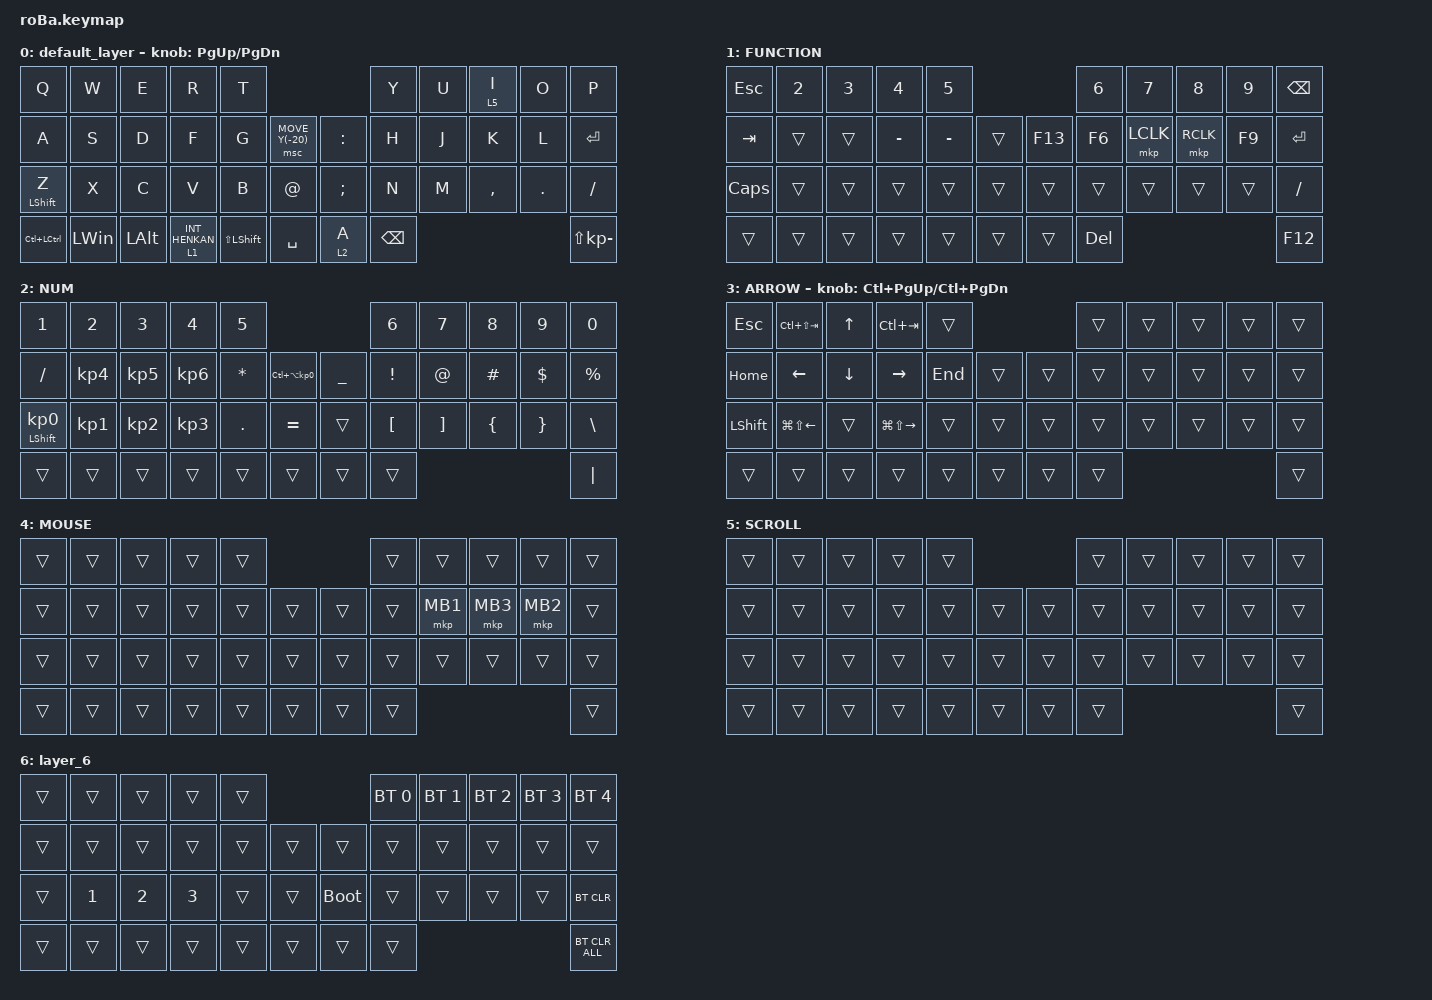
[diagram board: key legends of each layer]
#include <behaviors.dtsi>
#include <dt-bindings/zmk/bt.h>
#include <dt-bindings/zmk/keys.h>
#include <dt-bindings/zmk/pointing.h>

&mt {
    flavor = "balanced";
    quick-tap-ms = <0>;
};

&trackball {
    automouse-layer = <4>;
    scroll-layers = <5>;

    // arrows {
    //     layers = <3>;
    //     bindings =
    //         <&kp RIGHT_ARROW>,
    //         <&kp LEFT_ARROW>,
    //         <&kp UP_ARROW>,
    //         <&kp DOWN_ARROW>;
    //     tick = <10>;
    //     wait-ms = <5>;
    //     tap-ms = <5>;
    // };
};

/ {
    combos {
        compatible = "zmk,combos";

        tab {
            bindings = <&kp TAB>;
            key-positions = <11 12>;
        };

        shift_tab {
            bindings = <&kp LS(TAB)>;
            key-positions = <12 13>;
        };

        muhennkann {
            bindings = <&to_layer_0 INT_MUHENKAN>;
            key-positions = <11 10>;
        };

        double_quotation {
            bindings = <&kp DOUBLE_QUOTES>;
            key-positions = <20 21>;
        };

        eq {
            bindings = <&kp EQUAL>;
            key-positions = <24 25>;
        };
    };

    macros {
        to_layer_0: to_layer_0 {
            compatible = "zmk,behavior-macro-one-param";
            #binding-cells = <1>;
            bindings = <&to 0 &macro_param_1to1 &kp MACRO_PLACEHOLDER>;
            label = "TO_LAYER_0";
        };
    };

    behaviors {
        lt_to_layer_0: lt_to_layer_0 {
            compatible = "zmk,behavior-hold-tap";
            label = "LAYER_TAP_TO_0";
            bindings = <&mo>, <&to_layer_0>;

            #binding-cells = <2>;
            tapping-term-ms = <200>;
        };
    };

    keymap {
        compatible = "zmk,keymap";

        default_layer {
            bindings = <
&kp Q                 &kp W         &kp E         &kp R                        &kp T                                                     &kp Y          &kp U  &lt 5 I    &kp O    &kp P
&kp A                 &kp S         &kp D         &kp F                        &kp G           &msc MOVE_Y(-20)      &kp COLON           &kp H          &kp J  &kp K      &kp L    &kp ENTER
&mt LEFT_SHIFT Z      &kp X         &kp C         &kp V                        &kp B           &kp AT_SIGN           &kp SEMICOLON       &kp N          &kp M  &kp COMMA  &kp DOT  &kp SLASH
&kp LC(LEFT_CONTROL)  &kp LEFT_WIN  &kp LEFT_ALT  &lt_to_layer_0 1 INT_HENKAN  &kp LS(LSHIFT)  &kp SPACE             &lt_to_layer_0 2 A  &kp BACKSPACE                             &kp LS(KP_MINUS)
            >;

            sensor-bindings = <&inc_dec_kp PG_UP PAGE_DOWN>;
        };

        FUNCTION {
            bindings = <
&kp ESC       &kp NUMBER_2  &kp NUMBER_3  &kp NUMBER_4  &kp NUMBER_5                       &kp NUMBER_6  &kp NUMBER_7  &kp NUMBER_8  &kp NUMBER_9  &kp BACKSPACE
&kp TAB       &trans        &trans        &kp MINUS     &kp MINUS     &trans      &kp F13  &kp F6        &mkp LCLK     &mkp RCLK     &kp F9        &kp ENTER
&kp CAPSLOCK  &trans        &trans        &trans        &trans        &trans      &trans   &trans        &trans        &trans        &trans        &kp SLASH
&trans        &trans        &trans        &trans        &trans        &trans      &trans   &kp DELETE                                              &kp F12
            >;
        };

        NUM {
            bindings = <
&kp NUMBER_1                &kp NUMBER_2     &kp NUMBER_3     &kp NUMBER_4     &kp NUMBER_5                                               &kp NUMBER_6      &kp NUMBER_7       &kp NUMBER_8    &kp NUMBER_9     &kp NUMBER_0
&kp SLASH                   &kp KP_NUMBER_4  &kp KP_NUMBER_5  &kp KP_NUMBER_6  &kp ASTERISK  &kp LC(LA(KP_NUMBER_0))      &kp UNDERSCORE  &kp EXCLAMATION   &kp AT_SIGN        &kp HASH        &kp DOLLAR       &kp PERCENT
&mt LEFT_SHIFT KP_NUMBER_0  &kp KP_NUMBER_1  &kp KP_NUMBER_2  &kp KP_NUMBER_3  &kp PERIOD    &kp EQUAL                    &trans          &kp LEFT_BRACKET  &kp RIGHT_BRACKET  &kp LEFT_BRACE  &kp RIGHT_BRACE  &kp BACKSLASH
&trans                      &trans           &trans           &trans           &trans        &trans                       &trans          &trans                                                                &kp PIPE
            >;
        };

        ARROW {
            bindings = <
&kp ESCAPE      &kp LC(LS(TAB))         &kp UP_ARROW    &kp LC(TAB)              &trans                       &trans  &trans  &trans  &trans  &trans
&kp HOME        &kp LEFT_ARROW          &kp DOWN_ARROW  &kp RIGHT_ARROW          &kp END  &trans      &trans  &trans  &trans  &trans  &trans  &trans
&kp LEFT_SHIFT  &kp LG(LS(LEFT_ARROW))  &trans          &kp LG(LS(RIGHT_ARROW))  &trans   &trans      &trans  &trans  &trans  &trans  &trans  &trans
&trans          &trans                  &trans          &trans                   &trans   &trans      &trans  &trans                          &trans
            >;

            sensor-bindings = <&inc_dec_kp LC(PAGE_UP) LC(PAGE_DOWN)>;
        };

        MOUSE {
            bindings = <
&trans  &trans  &trans  &trans  &trans                      &trans  &trans    &trans    &trans    &trans
&trans  &trans  &trans  &trans  &trans  &trans      &trans  &trans  &mkp MB1  &mkp MB3  &mkp MB2  &trans
&trans  &trans  &trans  &trans  &trans  &trans      &trans  &trans  &trans    &trans    &trans    &trans
&trans  &trans  &trans  &trans  &trans  &trans      &trans  &trans                                &trans
            >;
        };

        SCROLL {
            bindings = <
&trans  &trans  &trans  &trans  &trans                      &trans  &trans  &trans  &trans  &trans
&trans  &trans  &trans  &trans  &trans  &trans      &trans  &trans  &trans  &trans  &trans  &trans
&trans  &trans  &trans  &trans  &trans  &trans      &trans  &trans  &trans  &trans  &trans  &trans
&trans  &trans  &trans  &trans  &trans  &trans      &trans  &trans                          &trans
            >;
        };

        layer_6 {
            bindings = <
&trans  &trans        &trans        &trans        &trans                           &bt BT_SEL 0  &bt BT_SEL 1  &bt BT_SEL 2  &bt BT_SEL 3  &bt BT_SEL 4
&trans  &trans        &trans        &trans        &trans  &trans      &trans       &trans        &trans        &trans        &trans        &trans
&trans  &kp NUMBER_1  &kp NUMBER_2  &kp NUMBER_3  &trans  &trans      &bootloader  &trans        &trans        &trans        &trans        &bt BT_CLR
&trans  &trans        &trans        &trans        &trans  &trans      &trans       &trans                                                  &bt BT_CLR_ALL
            >;
        };
    };
};
